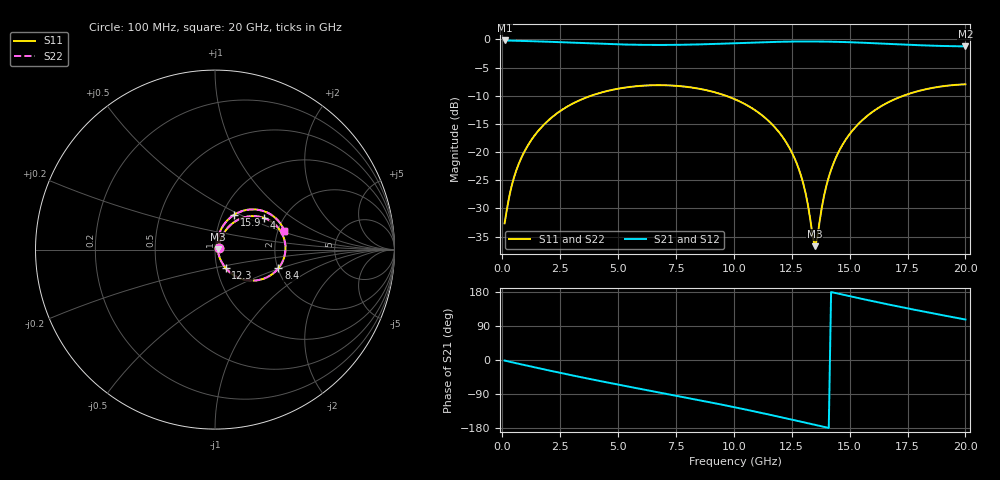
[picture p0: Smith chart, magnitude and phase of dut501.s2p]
! Touchstone file exported from HFSS 2026.1.0
!  File:  C:/ffzhzh/LocalFiles/Ansys_Project_Files/temp_train_TSV_RDL_501_1783107241_35180.aedt
!  Generated:  03:46:50 AM Jul  4, 2026
!  Design:  TSV_RDL
!  Project:  temp_train_TSV_RDL_501_1783107241_35180
! Variables:
!  h_bsmrdl = 3.05um
!  h_ox = 20um
!  h_rdl = 5um
!  h_sub = 94.95um
!  h_tmrdl = 2.31um
!  h_tsv = 94.95um
!  h_via = 3um
!  l_bsmrdl = 185.84um
!  l_sub = 3957.41um
!  l_tmrdl = 716.23um
!  m_sub = 200um
!  pitch = 50.6um
!  r_tsv = 14.53um
!  s_tmrdl = 10um
!  w_bsmrdl = 15.46um
!  w_sub = 500um
!  w_tmrdl = 29.53um
!  x_tsv_center1 = 730.995um
!  x_tsv_center2 = 932.295um
!  x_tsv_center3 = 1678.055um
!  x_tsv_center4 = 1879.355um
!  x_tsv_center5 = 2625.115um
!  x_tsv_center6 = 2826.415um
# GHz S MA R 50.000000
! Terminal data exported
! Port[1] = TM_RDL1_1_T1
! Port[2] = TM_RDL5_1_T1
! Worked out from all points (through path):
!   200 points, 100 MHz to 20 GHz, reference 50 ohm
!   highest |S21| = -0.18 dB at 100 MHz (marker M1); lowest = -1.2 dB at 20 GHz (marker M2)
!   group delay of S21, straight-line fit = 35.1 ps
!   lowest |S11| = -36.7 dB at 13.5 GHz (marker M3), VSWR 1.03, Z = 51.5 + j0.0815 ohm
!   |S11| at or under -10 dB: start of sweep to 3.825 GHz; 9.661 GHz to 17.32 GHz (7.654 GHz wide, 56.7 % of centre)
!   |S22| runs from -36.4 to -8.0 dB; largest |S21 - S12| = 2.3e-14
!   S11 on the Smith chart (normalised r, x): 100 MHz: 1.04, +0.02; 4 GHz: 1.60, +0.63; 8.4 GHz: 2.02, -0.48; 12.3 GHz: 1.10, -0.23; 15.9 GHz: 1.14, +0.46; 20 GHz: 2.17, +0.54
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0.1  0.02332 28.6  0.9798 -1.5  0.9798 -1.5  0.02332 28.6
! Gamma 0 0 0 0
! Port Impedance 50 0 50 0
0.5  0.05915 58.9  0.9746 -7.1  0.9746 -7.1  0.05915 58.9
1.2  0.1232 60.8  0.9659 -16.7  0.9659 -16.7  0.1232 60.8
2.2  0.2084 52.5  0.9507 -30.0  0.9507 -30.0  0.2084 52.5
3.5  0.2982 38.4  0.9275 -46.6  0.9275 -46.6  0.2982 38.4
4  0.3252 32.8  0.9189 -52.8  0.9189 -52.8  0.3251 32.8
6.8  0.3929 1.6  0.8938 -85.9  0.8938 -85.9  0.3929 1.6
8.4  0.3685 -16.3  0.9028 -104.7  0.9028 -104.7  0.3685 -16.3
10.1  0.2913 -36.0  0.9267 -125.5  0.9267 -125.5  0.2912 -35.9
11.4  0.1976 -51.1  0.9467 -142.4  0.9467 -142.4  0.1976 -50.9
12.3  0.1185 -60.1  0.9564 -154.5  0.9564 -154.5  0.1185 -59.8
13  0.05243 -60.3  0.9598 -164.1  0.9598 -164.1  0.05257 -59.8
13.2  0.03396 -53.7  0.9599 -166.9  0.9599 -166.9  0.03418 -52.9
13.4  0.0182 -28.5  0.9597 -169.7  0.9597 -169.7  0.01863 -27.5
13.5  0.01464 3.1  0.9595 -171.0  0.9595 -171.0  0.01519 3.3
14  0.05069 73.3  0.9568 -177.9  0.9568 -177.9  0.05086 72.7
14.4  0.08868 75.2  0.9531 176.6  0.9531 176.6  0.08879 74.8
15  0.1444 70.9  0.9452 168.4  0.9452 168.4  0.1445 70.7
15.9  0.2209 61.3  0.9293 156.5  0.9293 156.5  0.2209 61.2
16.7  0.2789 52.1  0.9134 146.2  0.9134 146.2  0.279 52.0
18.3  0.362 33.9  0.8844 126.6  0.8844 126.6  0.362 33.8
20  0.3998 15.1  0.8682 106.8  0.8682 106.8  0.3998 15.1
